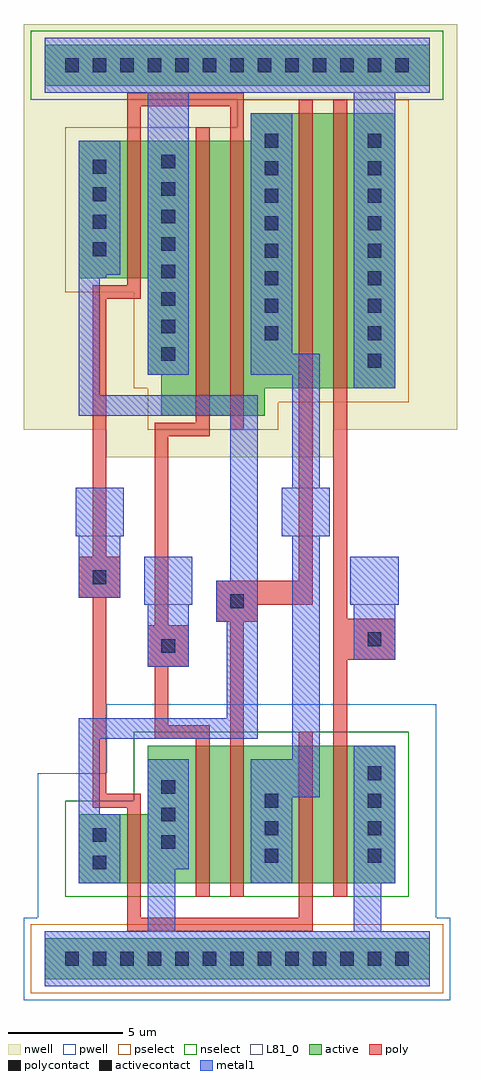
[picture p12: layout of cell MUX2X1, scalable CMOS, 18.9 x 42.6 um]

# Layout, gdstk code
import gdstk
lib = gdstk.Library(unit=1e-6, precision=1e-09)
def R(c, l, rs):  # rectangles x0, y0, x1, y1
    for r in rs: c.add(gdstk.rectangle(r[:2], r[2:], *l))
def A(c, l, x, y, w, h, nx, ny, dx, dy):  # array of equal rectangles
    R(c, l, [(x+i*dx, y+j*dy, x+i*dx+w, y+j*dy+h) for i in range(nx) for j in range(ny)])
pwell = (41, 0)
nwell = (42, 0)
active = (43, 0)
pselect = (44, 0)
nselect = (45, 0)
poly = (46, 0)
polycontact = (47, 0)
activecontact = (48, 0)
metal1 = (49, 0)
L81_0 = (81, 0)

mux2x1 = lib.new_cell('MUX2X1')
R(mux2x1, pwell, [(-1.8,-1.8,16.8,1.8), (-1.2,1.8,16.2,8.1), (1.8,8.1,16.2,11.1)])
R(mux2x1, nwell, [(1.8,21.9,11.7,23.1), (-1.8,23.1,17.1,40.8)])
R(mux2x1, active, [(-0.9,-0.9,15.9,0.9), (0.6,3.3,14.4,6.3), (3.6,6.3,14.4,9.3), (4.2,23.7,8.7,24.9), (4.2,24.9,14.4,25.5), (3.6,25.5,14.4,29.7), (0.6,29.7,14.4,35.7), (8.1,35.7,14.4,36.9), (-0.9,38.1,15.9,39.9)])
R(mux2x1, pselect, [(-1.5,-1.5,16.5,1.5), (3.6,23.1,9.3,24.3), (3.6,24.3,15,24.9), (3,24.9,15,29.1), (0,29.1,15,36.3), (7.5,36.3,15,37.5)])
R(mux2x1, nselect, [(0,2.7,15,6.9), (3,6.9,15,9.9), (-1.5,37.5,16.5,40.5)])
R(mux2x1, poly, [(2.7,1.2,10.8,1.8), (2.7,1.8,3.3,6.6), (10.2,1.8,10.8,9.9), (5.7,2.7,6.3,9.6), (7.2,2.7,7.8,14.7), (11.7,2.7,12.3,13.05), (1.2,6.6,3.3,7.2), (1.2,7.2,1.8,15.75), (3.9,9.6,6.3,10.2), (3.9,10.2,4.5,12.75), (3.6,12.75,5.4,14.55), (11.7,13.05,14.4,14.85), (3.9,14.55,4.5,22.8), (6.6,14.7,8.4,15.45), (11.7,14.85,12.3,37.5), (6.6,15.45,10.8,16.5), (0.6,15.75,2.4,17.55), (10.2,16.5,10.8,37.5), (1.2,17.55,1.8,28.8), (3.9,22.8,6.3,23.4), (7.2,23.1,7.8,37.2), (5.7,23.4,6.3,36.3), (1.2,28.8,3.3,29.4), (2.7,29.4,3.3,37.2), (2.7,37.2,7.8,37.8)])
R(mux2x1, polycontact, [(4.2,13.35,4.8,13.95), (13.2,13.65,13.8,14.25), (7.2,15.3,7.8,15.9), (1.2,16.35,1.8,16.95)])
A(mux2x1, activecontact, 0, -0.3, 0.6, 0.6, 13, 2, 1.2, 39)
A(mux2x1, activecontact, 8.7, 4.2, 0.6, 0.6, 1, 3, 0, 1.2)
A(mux2x1, activecontact, 13.2, 4.2, 0.6, 0.6, 1, 4, 0, 1.2)
A(mux2x1, activecontact, 4.2, 4.8, 0.6, 0.6, 1, 3, 0, 1.2)
A(mux2x1, activecontact, 13.2, 25.8, 0.6, 0.6, 1, 9, 0, 1.2)
A(mux2x1, activecontact, 4.2, 26.1, 0.6, 0.6, 1, 8, 0, 1.2)
A(mux2x1, activecontact, 8.7, 27, 0.6, 0.6, 1, 8, 0, 1.2)
A(mux2x1, activecontact, 1.2, 30.67, 0.6, 0.6, 1, 4, 0, 1.2)
R(mux2x1, activecontact, [(1.2,3.9,1.8,4.5), (1.2,5.1,1.8,5.7)])
R(mux2x1, metal1, [(-0.9,-1.2,15.9,1.2), (3.6,1.2,4.8,3.9), (12.6,1.2,13.8,3.3), (0.6,3.3,2.4,6.3), (8.1,3.3,9.9,7.05), (12.6,3.3,14.4,9.3), (3.6,3.9,5.4,8.7), (0.6,6.3,1.5,9.6), (8.1,7.05,11.1,8.7), (9.9,8.7,11.1,18.45), (0.6,9.6,8.4,10.5), (7.05,10.5,8.4,14.7), (3.6,12.75,5.4,15.45), (12.6,13.05,14.4,15.45), (6.6,14.7,8.4,16.5), (3.45,15.45,5.55,17.55), (12.45,15.45,14.55,17.55), (0.6,15.75,2.4,18.45), (7.2,16.5,8.4,23.7), (0.45,18.45,2.55,20.55), (9.45,18.45,11.55,20.55), (9.9,20.55,11.1,25.5), (0.6,23.7,8.4,24.6), (0.6,24.6,1.5,29.7), (12.6,24.9,14.4,37.8), (3.6,25.5,5.4,37.8), (8.1,25.5,11.1,26.4), (8.1,26.4,9.9,36.9), (0.6,29.7,1.8,29.85), (0.6,29.85,2.4,35.7), (-0.9,37.8,15.9,40.2)])
R(mux2x1, L81_0, [(-0.9,-1.2,15.9,1.2), (3.45,15.45,5.55,17.55), (12.45,15.45,14.55,17.55), (0.45,18.45,2.55,20.55), (9.45,18.45,11.55,20.55), (-0.9,37.8,15.9,40.2)])

lib.write_gds('MUX2X1.gds')
